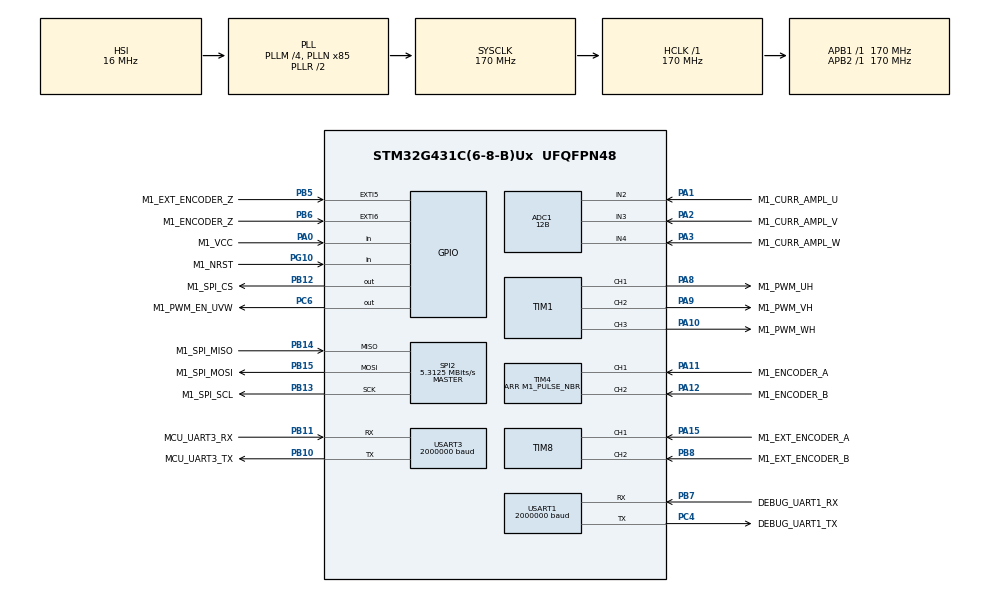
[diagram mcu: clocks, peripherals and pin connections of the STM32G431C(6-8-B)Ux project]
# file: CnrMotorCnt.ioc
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ADC1.ClockPrescaler=ADC_CLOCK_ASYNC_DIV1
ADC1.ContinuousConvMode=DISABLE
ADC1.DMAContinuousRequests=DISABLE
ADC1.DataAlign=ADC_DATAALIGN_LEFT
ADC1.DiscontinuousConvMode=DISABLE
ADC1.EOCSelection=ADC_EOC_SINGLE_CONV
ADC1.EnableAnalogWatchDog1=false
ADC1.EnableAnalogWatchDog2=false
ADC1.EnableAnalogWatchDog3=false
ADC1.EnableInjectedConversion=ENABLE
ADC1.EnableRegularConversion=DISABLE
ADC1.ExternalTrigInjecConv=ADC_EXTERNALTRIGINJEC_T1_TRGO
ADC1.ExternalTrigInjecConvEdge=ADC_EXTERNALTRIGINJECCONV_EDGE_RISING
ADC1.InjNumberOfConversion=3
ADC1.InjectedChannel-1\#ChannelInjectedConversion=ADC_CHANNEL_2
ADC1.InjectedChannel-2\#ChannelInjectedConversion=ADC_CHANNEL_3
ADC1.InjectedChannel-3\#ChannelInjectedConversion=ADC_CHANNEL_4
ADC1.InjectedConvMode=None
ADC1.InjectedOffset-1\#ChannelInjectedConversion=0
ADC1.InjectedOffset-2\#ChannelInjectedConversion=0
ADC1.InjectedOffset-3\#ChannelInjectedConversion=0
ADC1.InjectedOffsetNumber-1\#ChannelInjectedConversion=ADC_OFFSET_NONE
ADC1.InjectedOffsetNumber-2\#ChannelInjectedConversion=ADC_OFFSET_NONE
ADC1.InjectedOffsetNumber-3\#ChannelInjectedConversion=ADC_OFFSET_NONE
ADC1.InjectedRank-1\#ChannelInjectedConversion=1
ADC1.InjectedRank-2\#ChannelInjectedConversion=2
ADC1.InjectedRank-3\#ChannelInjectedConversion=3
ADC1.InjectedSamplingTime-1\#ChannelInjectedConversion=ADC_SAMPLETIME_6CYCLES_5
ADC1.InjectedSamplingTime-2\#ChannelInjectedConversion=ADC_SAMPLETIME_6CYCLES_5
ADC1.InjectedSamplingTime-3\#ChannelInjectedConversion=ADC_SAMPLETIME_6CYCLES_5
ADC1.LowPowerAutoWait=DISABLE
ADC1.Overrun=ADC_OVR_DATA_PRESERVED
ADC1.Resolution=ADC_RESOLUTION_12B
ADC1.ScanConvMode=ADC_SCAN_ENABLE
ADC1.master=1
Dma.Request0=USART1_RX
Dma.Request1=USART1_TX
Dma.Request2=USART3_RX
Dma.USART1_RX.0.Direction=DMA_PERIPH_TO_MEMORY
Dma.USART1_RX.0.EventEnable=DISABLE
Dma.USART1_RX.0.Instance=DMA1_Channel1
Dma.USART1_RX.0.MemDataAlignment=DMA_MDATAALIGN_BYTE
Dma.USART1_RX.0.MemInc=DMA_MINC_ENABLE
Dma.USART1_RX.0.Mode=DMA_NORMAL
Dma.USART1_RX.0.PeriphDataAlignment=DMA_PDATAALIGN_BYTE
Dma.USART1_RX.0.PeriphInc=DMA_PINC_DISABLE
Dma.USART1_RX.0.Polarity=HAL_DMAMUX_REQ_GEN_RISING
Dma.USART1_RX.0.Priority=DMA_PRIORITY_LOW
Dma.USART1_RX.0.RequestNumber=1
Dma.USART1_RX.0.SignalID=NONE
Dma.USART1_RX.0.SyncEnable=DISABLE
Dma.USART1_RX.0.SyncPolarity=HAL_DMAMUX_SYNC_NO_EVENT
Dma.USART1_RX.0.SyncRequestNumber=1
Dma.USART1_RX.0.SyncSignalID=NONE
Dma.USART1_TX.1.Direction=DMA_MEMORY_TO_PERIPH
Dma.USART1_TX.1.EventEnable=DISABLE
Dma.USART1_TX.1.Instance=DMA1_Channel2
Dma.USART1_TX.1.MemDataAlignment=DMA_MDATAALIGN_BYTE
Dma.USART1_TX.1.MemInc=DMA_MINC_ENABLE
Dma.USART1_TX.1.Mode=DMA_NORMAL
Dma.USART1_TX.1.PeriphDataAlignment=DMA_PDATAALIGN_BYTE
Dma.USART1_TX.1.PeriphInc=DMA_PINC_DISABLE
Dma.USART1_TX.1.Polarity=HAL_DMAMUX_REQ_GEN_RISING
Dma.USART1_TX.1.Priority=DMA_PRIORITY_LOW
Dma.USART1_TX.1.RequestNumber=1
Dma.USART1_TX.1.SignalID=NONE
Dma.USART1_TX.1.SyncEnable=DISABLE
Dma.USART1_TX.1.SyncPolarity=HAL_DMAMUX_SYNC_NO_EVENT
Dma.USART1_TX.1.SyncRequestNumber=1
Dma.USART1_TX.1.SyncSignalID=NONE
Dma.USART3_RX.2.Direction=DMA_PERIPH_TO_MEMORY
Dma.USART3_RX.2.EventEnable=DISABLE
Dma.USART3_RX.2.Instance=DMA1_Channel3
Dma.USART3_RX.2.MemDataAlignment=DMA_MDATAALIGN_BYTE
Dma.USART3_RX.2.MemInc=DMA_MINC_ENABLE
Dma.USART3_RX.2.Mode=DMA_NORMAL
Dma.USART3_RX.2.PeriphDataAlignment=DMA_PDATAALIGN_BYTE
Dma.USART3_RX.2.PeriphInc=DMA_PINC_DISABLE
Dma.USART3_RX.2.Polarity=HAL_DMAMUX_REQ_GEN_RISING
Dma.USART3_RX.2.Priority=DMA_PRIORITY_LOW
Dma.USART3_RX.2.RequestNumber=1
Dma.USART3_RX.2.SignalID=NONE
Dma.USART3_RX.2.SyncEnable=DISABLE
Dma.USART3_RX.2.SyncPolarity=HAL_DMAMUX_SYNC_NO_EVENT
Dma.USART3_RX.2.SyncRequestNumber=1
Dma.USART3_RX.2.SyncSignalID=NONE
ExtraMW=MotorControl
ExtraMW.MotorControl.Config=MotorControl
ExtraMW.MotorControl.Mode=MotorControl
ExtraMW.MotorControl.Root=MCSDK_v6.4.2-Full/MotorControl
ExtraMW.MotorControl.Template=templates
FREERTOS.BinarySemaphores01=uart_line_sema,Dynamic,NULL,Depleted
FREERTOS.Queues01=command_que,16,12,1,Dynamic,NULL,NULL
FREERTOS.Tasks01=mediumFrequency,3,128,startMediumFrequencyTask,As weak,NULL,Dynamic,NULL,NULL;safety,3,128,StartSafetyTask,As external,NULL,Dynamic,NULL,NULL;motor_task,1,512,cnr_start_motor_control_task,Default,NULL,Dynamic,NULL,NULL;handler_task,-1,256,cnr_start_command_handler_task,Default,NULL,Dynamic,NULL,NULL
FREERTOS.configTOTAL_HEAP_SIZE=6144
Mcu.Family=STM32G4
Mcu.Name=STM32G431C(6-8-B)Ux
Mcu.Package=UFQFPN48
MotorControl.ADC_AHBPERIPH=RCC_AHBPeriph_ADC1
MotorControl.ADC_CLOCK_WB_DIV=1
MotorControl.ADC_PERIPH=ADC1
MotorControl.ADC_REFERENCE_VOLTAGE=3.3
MotorControl.BOARD=~CNR-MOTOR-CNT
MotorControl.BUS_VOLTAGE_READING=false
MotorControl.CCMRAM_ENABLED=false
MotorControl.CLOCK_FREQUENCY=CPU_CLK_170_MHZ
MotorControl.CLOCK_SOURCE=INTERNAL
MotorControl.CPU_CLK_170_MHZ=true
MotorControl.CTLBOARD_NAME=~CNR-MOTOR-CNT
MotorControl.CUBE_MX_VER=6.17.0
MotorControl.CURRENT_READING_TOPOLOGY=THREE_SHUNT
MotorControl.CURR_SAMPLING_TIME=6
MotorControl.DBG_MCU_LOAD_MEASURE=false
MotorControl.DEBUG_DAC_FUNCTIONALITY_EN=false
MotorControl.DRIVES_NUMBER_SELECTION=SINGLEDRIVE
MotorControl.DRIVE_NUMBER=1
MotorControl.DRIVE_TYPE=FOC
MotorControl.ENCODER=true
MotorControl.ENCODER_AVAILABLE=true
MotorControl.ENCODER_PPR=256
MotorControl.ENC_A_GPIO_PIN=LL_GPIO_PIN_11
MotorControl.ENC_A_GPIO_PORT=GPIOA
MotorControl.ENC_B_GPIO_PIN=LL_GPIO_PIN_12
MotorControl.ENC_B_GPIO_PORT=GPIOA
MotorControl.ENC_ICx_FILTER=128
MotorControl.ENC_INVERT_SPEED=false
MotorControl.ENC_TIMER_SELECTION=ENC_TIM4
MotorControl.ENC_USE_CH3=true
MotorControl.ENC_Z_GPIO_PIN=LL_GPIO_PIN_6
MotorControl.ENC_Z_GPIO_PORT=GPIOB
MotorControl.EXT_CLOCK_FREQUENCY=INT_RC_OSC
MotorControl.FEEDBACK_NET_FILTERING=false
MotorControl.FLASH_SIZE=128
MotorControl.HALL_SENSORS_AVAILABLE=false
MotorControl.HIGH_SIDE_IDLE_STATE=false
MotorControl.HWV_CS=ThreeShunt_AmplifiedCurrents
MotorControl.HWV_PWM=DrivingHighSidesAndOneEnable
MotorControl.HW_COMPLEMENTED_LOW_SIDE=true
MotorControl.HW_DEAD_TIME_NS=750
MotorControl.INT_RC_OSC=true
MotorControl.IPs=CORDIC,NVIC,RCC,MotorControl,TIM1,ADC1,TIM4,USART1,FREERTOS,DMA
MotorControl.LOW_MEMORY_FOOTPRINT_REG=false
MotorControl.LOW_SIDE_IDLE_STATE=false
MotorControl.LOW_SIDE_SIGNALS_ENABLING=ES_GPIO
MotorControl.M1_ALIGNMENT_ANGLE_DEG=90
MotorControl.M1_ALIGNMENT_DURATION=400
MotorControl.M1_AMPLIFICATION_GAIN=1
MotorControl.M1_ANGC={0,0,0,0,0,0,0,0}
MotorControl.M1_AUXILIARY_SPEED_SENSOR=NONE
MotorControl.M1_BOARD_MAX_CURRENT=0.6
MotorControl.M1_BUS_VOLTAGE_READING=false
MotorControl.M1_COMMUTATION_STEP_TIME_BUF_SIZE=12
MotorControl.M1_CONSTANT1_D=420353
MotorControl.M1_CONSTANT1_Q=420353
MotorControl.M1_CONSTANT2_QD=460610
MotorControl.M1_CS_ADC_NUM=1
MotorControl.M1_CS_ADC_PHASE_SHARED=NONE
MotorControl.M1_CS_ADC_U=ADC1
MotorControl.M1_CS_ADC_V=ADC1
MotorControl.M1_CS_ADC_W=ADC1
MotorControl.M1_CS_CHANNEL_U=2
MotorControl.M1_CS_CHANNEL_V=3
MotorControl.M1_CS_CHANNEL_W=4
MotorControl.M1_CURRENT_AMPLIFICATION_TOPO=EXTERNAL
MotorControl.M1_CURRENT_SENSING_TOPO=THREE_SHUNT
MotorControl.M1_CURR_SAMPLING_TIME=6
MotorControl.M1_DBG_OPEN_LOOP_ENABLE=false
MotorControl.M1_DC_CURRENT_RS_MEAS=0.6
MotorControl.M1_DEFAULT_CONTROL_MODE=STC_SPEED_MODE
MotorControl.M1_DEFAULT_FLUX_COMPONENT=0
MotorControl.M1_DEFAULT_TARGET_SPEED_RPM=1440
MotorControl.M1_DEFAULT_TORQUE_COMPONENT=0
MotorControl.M1_DISCONTINUOUS_PWM=false
MotorControl.M1_DP_TOPOLOGY=NONE
MotorControl.M1_DRIVE_TYPE=FOC
MotorControl.M1_ENCODER_PPR=256
MotorControl.M1_ENC_AVERAGING_FIFO_DEPTH=16
MotorControl.M1_ENC_A_GPIO_PIN=LL_GPIO_PIN_11
MotorControl.M1_ENC_A_GPIO_PORT=GPIOA
MotorControl.M1_ENC_B_GPIO_PIN=LL_GPIO_PIN_12
MotorControl.M1_ENC_B_GPIO_PORT=GPIOA
MotorControl.M1_ENC_ICx_FILTER=128
MotorControl.M1_ENC_TIMER_IRQ=TIM4
MotorControl.M1_ENC_TIMER_SELECTION=ENC_TIM4
MotorControl.M1_ENC_USE_CH3=true
MotorControl.M1_ENC_Z_GPIO_IRQ=EXTI9_5
MotorControl.M1_ENC_Z_GPIO_PIN=LL_GPIO_PIN_6
MotorControl.M1_ENC_Z_GPIO_PORT=GPIOB
MotorControl.M1_FEED_FORWARD_CURRENT_REG_ENABLING=false
MotorControl.M1_FINAL_I_ALIGNMENT=0.6
MotorControl.M1_FLUX_WEAKENING_ENABLING=false
MotorControl.M1_FW_KIDIV=32768
MotorControl.M1_FW_KI_GAIN=5000
MotorControl.M1_FW_KPDIV=32768
MotorControl.M1_FW_KP_GAIN=3000
MotorControl.M1_FW_VOLTAGE_REF=985
MotorControl.M1_HALL_PHASE_SHIFT=300
MotorControl.M1_HALL_SENSORS_PLACEMENT=DEGREES_120
MotorControl.M1_HIGH_SIDE_IDLE_STATE=false
MotorControl.M1_HW_DEAD_TIME_NS=750
MotorControl.M1_ICL_ENABLED=false
MotorControl.M1_ID_DEMAG=-0.6
MotorControl.M1_IQMAX=0.6
MotorControl.M1_LDLQ_RATIO=1.000
MotorControl.M1_LOW_SIDE_IDLE_STATE=false
MotorControl.M1_LOW_SIDE_SIGNALS_ENABLING=ES_GPIO
MotorControl.M1_LS=0.000049
MotorControl.M1_MAX_APPLICATION_SPEED=50000
MotorControl.M1_MAX_MODULATION_INDEX=77
MotorControl.M1_MIN_APPLICATION_SPEED=0
MotorControl.M1_MOTOR_MAX_SPEED_RPM=50000
MotorControl.M1_MOTOR_NAME=MAXON EC-I 100W
MotorControl.M1_MOTOR_RATED_FLUX=0.029687816
MotorControl.M1_MOTOR_VOLTAGE_CONSTANT=0.6
MotorControl.M1_MTPA_ENABLING=false
MotorControl.M1_NOMINAL_BUS_VOLTAGE_V=35
MotorControl.M1_NOMINAL_CURRENT=0.6
MotorControl.M1_OCP_TOPOLOGY=NONE
MotorControl.M1_OFST={0,0,0,0,0,0,0,0}
MotorControl.M1_OVERMODULATION=false
MotorControl.M1_PID_FLUX_KD_DEFAULT=100
MotorControl.M1_PID_FLUX_KI_DEFAULT=2829
MotorControl.M1_PID_FLUX_KP_DEFAULT=0
MotorControl.M1_PID_SPEED_KD_DEFAULT=0
MotorControl.M1_PID_SPEED_KI_DEFAULT=2189
MotorControl.M1_PID_SPEED_KP_DEFAULT=3549
MotorControl.M1_PID_TORQUE_KD_DEFAULT=100
MotorControl.M1_PID_TORQUE_KI_DEFAULT=2829
MotorControl.M1_PID_TORQUE_KP_DEFAULT=0
MotorControl.M1_POLE_PAIR_NUM=1
MotorControl.M1_POSITION_CTRL_ENABLING=true
MotorControl.M1_POSITION_CTRL_KDDIV=1024
MotorControl.M1_POSITION_CTRL_KD_GAIN=230
MotorControl.M1_POSITION_CTRL_KIDIV=32768
MotorControl.M1_POSITION_CTRL_KI_GAIN=0
MotorControl.M1_POSITION_CTRL_KPDIV=1024
MotorControl.M1_POSITION_CTRL_KP_GAIN=50
MotorControl.M1_POSITION_LOOP_FREQUENCY_HZ=2000
MotorControl.M1_POTENTIOMETER_ENABLE=false
MotorControl.M1_POWERBOARD_NAME=~CNR-MOTOR-DRV
MotorControl.M1_PWM_CHARGE_BOOT_CAP_DUTY_CYCLES=0.000
MotorControl.M1_PWM_CHARGE_BOOT_CAP_MS=10
MotorControl.M1_PWM_DRIVER_PN=DRV8316CT
MotorControl.M1_PWM_FREQUENCY=50000
MotorControl.M1_PWM_TIMER_BRK_IRQ=TIM1_BRK_TIM15
MotorControl.M1_PWM_TIMER_SELECTION=PWM_TIM1
MotorControl.M1_PWM_TIMER_UP_IRQ=TIM1_UP_TIM16
MotorControl.M1_REGULATION_EXECUTION_RATE=2
MotorControl.M1_RS=5.65
MotorControl.M1_RSHUNT=0.15
MotorControl.M1_SEGDIV=0
MotorControl.M1_SHARED_SIGNAL_ENABLE=true
MotorControl.M1_SPD_DIFFERENTIAL_TERM_ENABLING=false
MotorControl.M1_SPEED_SENSOR=QUAD_ENCODER_Z
MotorControl.M1_SP_KDDIV=16
MotorControl.M1_SP_KIDIV=16384
MotorControl.M1_SP_KPDIV=64
MotorControl.M1_SS_MEAS_ERRORS_BEFORE_FAULTS=3
MotorControl.M1_SW_DEADTIME_NS=750
MotorControl.M1_TEMPERATURE_READING=false
MotorControl.M1_TF_KDDIV=8192
MotorControl.M1_TF_KIDIV=1024
MotorControl.M1_TF_KPDIV=256
MotorControl.M1_TNOISE_NS=700
MotorControl.M1_TRISE_NS=1000
MotorControl.M1_USE_INTERNAL_OPAMP=false
MotorControl.MAX_READABLE_CURRENT=11
MotorControl.MCPA_OVER_UART_A_STREAM=10
MotorControl.MCP_ASPEP_OVER_UART=true
MotorControl.MCP_ASYNC_EN=true
MotorControl.MCP_ASYNC_OVER_ASPEP_EN=true
MotorControl.MCP_ASYNC_OVER_UART_A_EN=true
MotorControl.MCP_DMACH_RX_UART_A=1
MotorControl.MCP_DMACH_TX_UART_A=2
MotorControl.MCP_DMA_RX_UART_A=DMA1
MotorControl.MCP_DMA_TX_UART_A=DMA1
MotorControl.MCP_EN=true
MotorControl.MCP_IRQ_HANDLER_DMA_RX_UART_A=DMA1_Channel1_IRQHandler
MotorControl.MCP_IRQ_HANDLER_UART_A=USART1_IRQHandler
MotorControl.MCP_OVER_ASPEP_EN=true
MotorControl.MCP_OVER_STLNK_EN=false
MotorControl.MCP_OVER_UART_A_EN=true
MotorControl.MCP_OVER_UART_B_EN=false
MotorControl.MCP_RX_SYNC_PAYLOAD_MAX=256
MotorControl.MCP_TX_ASYNC_PAYLOAD_MAX_UART_A=2048
MotorControl.MCP_TX_SYNC_PAYLOAD_MAX=256
MotorControl.MCU=STM32G431CB
MotorControl.MCU_FAMILY=STM32G4
MotorControl.MCU_LINE=STM32G4x1
MotorControl.MCU_NAME=STM32G431C(6-8-B)Ux
MotorControl.MCU_PACKAGE=UFQFPN48
MotorControl.MCU_TYPE=STM32G431CB
MotorControl.MCU_USERNAME=STM32G431CBUx
MotorControl.MC_WORKBENCH_VERSION=6.4.2
MotorControl.MOTOR_PROFILER=false
MotorControl.MOTOR_TYPE=PMSM
MotorControl.PHASE_UH_GPIO_PIN=LL_GPIO_PIN_8
MotorControl.PHASE_UH_GPIO_PORT=GPIOA
MotorControl.PHASE_UH_POLARITY=H_ACTIVE_HIGH
MotorControl.PHASE_UL_GPIO_PIN=LL_GPIO_PIN_6
MotorControl.PHASE_UL_GPIO_PORT=GPIOC
MotorControl.PHASE_UL_POLARITY=L_ACTIVE_HIGH
MotorControl.PHASE_U_CURR_ADC=ADC1
MotorControl.PHASE_U_CURR_CHANNEL=ADC_CHANNEL_2
MotorControl.PHASE_U_GPIO_PIN=LL_GPIO_PIN_1
MotorControl.PHASE_U_GPIO_PORT=GPIOA
MotorControl.PHASE_U_PWM_CHANNEL=TIM_Channel_1
MotorControl.PHASE_VH_GPIO_PIN=LL_GPIO_PIN_9
MotorControl.PHASE_VH_GPIO_PORT=GPIOA
MotorControl.PHASE_VH_POLARITY=H_ACTIVE_HIGH
MotorControl.PHASE_VL_GPIO_PIN=LL_GPIO_PIN_6
MotorControl.PHASE_VL_GPIO_PORT=GPIOC
MotorControl.PHASE_VL_POLARITY=L_ACTIVE_HIGH
MotorControl.PHASE_V_CURR_ADC=ADC1
MotorControl.PHASE_V_CURR_CHANNEL=ADC_CHANNEL_3
MotorControl.PHASE_V_GPIO_PIN=LL_GPIO_PIN_2
MotorControl.PHASE_V_GPIO_PORT=GPIOA
MotorControl.PHASE_V_PWM_CHANNEL=TIM_Channel_2
MotorControl.PHASE_WH_GPIO_PIN=LL_GPIO_PIN_10
MotorControl.PHASE_WH_GPIO_PORT=GPIOA
MotorControl.PHASE_WH_POLARITY=H_ACTIVE_HIGH
MotorControl.PHASE_WL_GPIO_PIN=LL_GPIO_PIN_6
MotorControl.PHASE_WL_GPIO_PORT=GPIOC
MotorControl.PHASE_WL_POLARITY=L_ACTIVE_HIGH
MotorControl.PHASE_W_CURR_ADC=ADC1
MotorControl.PHASE_W_CURR_CHANNEL=ADC_CHANNEL_4
MotorControl.PHASE_W_GPIO_PIN=LL_GPIO_PIN_3
MotorControl.PHASE_W_GPIO_PORT=GPIOA
MotorControl.PHASE_W_PWM_CHANNEL=TIM_Channel_3
MotorControl.POTENTIOMETER_READING=false
MotorControl.PWM_FREQUENCY=50000
MotorControl.PWM_TIMER_SELECTION=PWM_TIM1
MotorControl.REGULATION_EXECUTION_RATE=2
MotorControl.RTOS=FREERTOS
MotorControl.RTOS_IRQ_NAME_WB2MX=TIM6_DAC_IRQn
MotorControl.RTOS_TIMER=TIM6
MotorControl.RTOS_USE_IRQ=true
MotorControl.SINGLEDRIVE=true
MotorControl.SPD_DIFFERENTIAL_TERM_ENABLING=false
MotorControl.SPEED_SENSOR_SELECTION=ENCODER
MotorControl.START_STOP_BTN=false
MotorControl.STM32G431CB=true
MotorControl.SW_DEADTIME_NS=750
MotorControl.TEMPERATURE_READING=false
MotorControl.TFDIFFERENTIAL_TERM_ENABLING=false
MotorControl.THREE_SHUNT=true
MotorControl.TRISE_NS=1000
MotorControl.USART_RX_GPIO_PIN=LL_GPIO_PIN_7
MotorControl.USART_RX_GPIO_PORT=GPIOB
MotorControl.USART_SELECTION=USE_USART1
MotorControl.USART_SELECTION_A=USART1
MotorControl.USART_SPEED=1843200
MotorControl.USART_TX_GPIO_PIN=LL_GPIO_PIN_4
MotorControl.USART_TX_GPIO_PORT=GPIOC
MotorControl.USE_3OPAMPS=false
MotorControl.USE_INTERNAL_OPAMP=false
MotorControl.WB_MX_HEAPSIZE=0x200
MotorControl.WB_MX_STACKSIZE=0x400
MotorControl.WB_MX_TRUSTZONE_AVAILABLE=false
MotorControl.WB_UI_CUTOFF_FREQUENCY=6000
MotorControl.WB_UI_ENCODER_HAS_INDEX_PIN=true
MotorControl.WB_UI_FLUX_TARGET=0
MotorControl.WB_UI_FRICTION=14
MotorControl.WB_UI_INERTIA=5.81
MotorControl.WB_UI_MAGNETIC_STRUCTURE=SM-PMSM
MotorControl.WB_UI_MAX_CURRENT=1.6
MotorControl.WB_UI_MAX_NOMINAL_DC_VOLTAGE=36
MotorControl.WB_UI_MAX_PWMFREQUENCY=50000
MotorControl.WB_UI_MOTOR_DESCRIPTION=brushless DC motor with encoder and Z Index
MotorControl.WB_UI_PW_BOARD_MAX_RATED_CURRENT=8
MotorControl.WB_UI_PW_BOARD_MAX_VOLTAGE=36
MotorControl.WB_UI_PW_BOARD_MIN_VOLTAGE=4.5
MotorControl.WB_UI_VPOL=0
MotorControl.WB_to_Mx_template_version=25-05-06
MotorControl.WB_to_Mx_version=6.4.2
NVIC.ADC1_2_IRQn=true\:2\:0\:true\:true\:false\:3\:false\:true\:true\:true
NVIC.DMA1_Channel3_IRQn=true\:5\:0\:false\:false\:true\:true\:true\:true\:true
NVIC.EXTI9_5_IRQn=true\:3\:0\:true\:true\:false\:5\:false\:true\:true\:true
NVIC.PriorityGroup=NVIC_PRIORITYGROUP_4
NVIC.TIM1_BRK_TIM15_IRQn=true\:4\:0\:true\:true\:false\:1\:false\:true\:true\:true
NVIC.TIM1_UP_TIM16_IRQn=true\:0\:0\:true\:true\:false\:2\:false\:true\:true\:true
NVIC.TIM4_IRQn=true\:3\:0\:true\:true\:false\:4\:false\:true\:true\:true
NVIC.TIM6_DAC_IRQn=true\:15\:0\:false\:false\:true\:false\:false\:true\:true
NVIC.TimeBase=TIM6_DAC_IRQn
NVIC.TimeBaseIP=TIM6
NVIC.USART3_IRQn=true\:5\:0\:false\:false\:true\:true\:true\:true\:true
PA0.GPIO_Label=M1_VCC
PA0.Signal=GPIO_Input
PA1.GPIO_Label=M1_CURR_AMPL_U
PA1.Mode=IN2-Single-Ended
PA1.Signal=ADC1_IN2
PA10.GPIO_Label=M1_PWM_WH
PA10.GPIO_PuPd=GPIO_PULLDOWN
PA10.GPIO_Speed=GPIO_SPEED_FREQ_HIGH
PA10.Signal=S_TIM1_CH3
PA11.GPIO_Label=M1_ENCODER_A
PA11.Signal=S_TIM4_CH1
PA12.GPIO_Label=M1_ENCODER_B
PA12.Signal=S_TIM4_CH2
PA13.Mode=Trace_Asynchronous_SW
PA13.Signal=SYS_JTMS-SWDIO
PA14.Mode=Trace_Asynchronous_SW
PA14.Signal=SYS_JTCK-SWCLK
PA15.GPIO_Label=M1_EXT_ENCODER_A
PA15.Signal=S_TIM8_CH1
PA2.GPIO_Label=M1_CURR_AMPL_V
PA2.Mode=IN3-Single-Ended
PA2.Signal=ADC1_IN3
PA3.GPIO_Label=M1_CURR_AMPL_W
PA3.Mode=IN4-Single-Ended
PA3.Signal=ADC1_IN4
PA8.GPIO_Label=M1_PWM_UH
PA8.GPIO_PuPd=GPIO_PULLDOWN
PA8.GPIO_Speed=GPIO_SPEED_FREQ_HIGH
PA8.Signal=S_TIM1_CH1
PA9.GPIO_Label=M1_PWM_VH
PA9.GPIO_PuPd=GPIO_PULLDOWN
PA9.GPIO_Speed=GPIO_SPEED_FREQ_HIGH
PA9.Signal=S_TIM1_CH2
PB10.GPIO_Label=MCU_UART3_TX
PB10.Mode=Asynchronous
PB10.Signal=USART3_TX
PB11.GPIO_Label=MCU_UART3_RX
PB11.Mode=Asynchronous
PB11.Signal=USART3_RX
PB12.GPIO_Label=M1_SPI_CS
PB12.Signal=GPIO_Output
PB13.GPIO_Label=M1_SPI_SCL
PB13.Mode=Full_Duplex_Master
PB13.Signal=SPI2_SCK
PB14.GPIO_Label=M1_SPI_MISO
PB14.Mode=Full_Duplex_Master
PB14.Signal=SPI2_MISO
PB15.GPIO_Label=M1_SPI_MOSI
PB15.Mode=Full_Duplex_Master
PB15.Signal=SPI2_MOSI
PB3.Mode=Trace_Asynchronous_SW
PB3.Signal=SYS_JTDO-SWO
PB5.GPIO_Label=M1_EXT_ENCODER_Z
PB5.GPIO_PuPd=GPIO_PULLUP
PB5.Signal=GPXTI5
PB6.GPIO_Label=M1_ENCODER_Z
PB6.GPIO_ModeDefaultEXTI=GPIO_MODE_IT_RISING
PB6.GPIO_PuPd=GPIO_PULLUP
PB6.Signal=GPXTI6
PB7.GPIO_Label=DEBUG_UART1_RX
PB7.GPIO_Mode=GPIO_MODE_AF_PP
PB7.GPIO_PuPd=GPIO_NOPULL
PB7.GPIO_Speed=GPIO_SPEED_FREQ_LOW
PB7.Mode=Asynchronous
PB7.Signal=USART1_RX
PB8-BOOT0.GPIO_Label=M1_EXT_ENCODER_B
PB8-BOOT0.Signal=S_TIM8_CH2
PC4.GPIO_Label=DEBUG_UART1_TX
PC4.GPIO_Mode=GPIO_MODE_AF_PP
PC4.GPIO_PuPd=GPIO_NOPULL
PC4.GPIO_Speed=GPIO_SPEED_FREQ_LOW
PC4.Mode=Asynchronous
PC4.Signal=USART1_TX
PC6.GPIO_Label=M1_PWM_EN_UVW
PC6.GPIO_PuPd=GPIO_PULLDOWN
PC6.GPIO_Speed=GPIO_SPEED_FREQ_HIGH
PC6.Signal=GPIO_Output
PG10-NRST.GPIO_Label=M1_NRST
PG10-NRST.Signal=GPIO_Input
ProjectManager.HeapSize=0x200
ProjectManager.StackSize=0x400
ProjectManager.TargetToolchain=CMake
RCC.ADC12CLockSelection=RCC_ADC12CLKSOURCE_PLL
RCC.ADC12Freq_Value=42500000
RCC.AHBFreq_Value=170000000
RCC.APB1Freq_Value=170000000
RCC.APB1TimFreq_Value=170000000
RCC.APB2Freq_Value=170000000
RCC.APB2TimFreq_Value=170000000
RCC.CK48CLockSelection=RCC_USBCLKSOURCE_PLL
RCC.CortexFreq_Value=170000000
RCC.EXTERNAL_CLOCK_VALUE=12288000
RCC.HCLKFreq_Value=170000000
RCC.HSE_VALUE=8000000
RCC.HSI48_VALUE=48000000
RCC.HSI_VALUE=16000000
RCC.LSE_VALUE=32768
RCC.PLLM=RCC_PLLM_DIV4
RCC.PLLN=85
RCC.PLLP=RCC_PLLP_DIV8
RCC.PREFETCH_ENABLE=1
RCC.SYSCLKFreq_VALUE=170000000
RCC.SYSCLKSource=RCC_SYSCLKSOURCE_PLLCLK
RCC.USBFreq_Value=170000000
RCC.VCOOutputFreq_Value=340000000
SH.S_TIM1_CH1.0=TIM1_CH1,PWM Generation1 CH1
SH.S_TIM1_CH2.0=TIM1_CH2,PWM Generation2 CH2
SH.S_TIM1_CH3.0=TIM1_CH3,PWM Generation3 CH3
SH.S_TIM4_CH1.0=TIM4_CH1,Encoder_Interface
SH.S_TIM4_CH2.0=TIM4_CH2,Encoder_Interface
SH.S_TIM8_CH1.0=TIM8_CH1,Encoder_Interface
SH.S_TIM8_CH2.0=TIM8_CH2,Encoder_Interface
SPI2.BaudRatePrescaler=SPI_BAUDRATEPRESCALER_32
SPI2.CalculateBaudRate=5.3125 MBits/s
SPI2.DataSize=SPI_DATASIZE_16BIT
SPI2.Direction=SPI_DIRECTION_2LINES
SPI2.Mode=SPI_MODE_MASTER
SPI2.VirtualType=VM_MASTER
TIM1.AutoReloadPreload=TIM_AUTORELOAD_PRELOAD_DISABLE
TIM1.AutomaticOutput=TIM_AUTOMATICOUTPUT_DISABLE
TIM1.Break2Filter=3
TIM1.Break2Polarity=TIM_BREAK2POLARITY_HIGH
TIM1.Break2State=TIM_BREAK2_DISABLE
TIM1.BreakFilter=0
TIM1.BreakPolarity=TIM_BREAKPOLARITY_HIGH
TIM1.BreakState=TIM_BREAK_DISABLE
TIM1.Channel=TIM_CHANNEL_4
TIM1.Channel-PWM\ Generation1\ CH1=TIM_CHANNEL_1
TIM1.Channel-PWM\ Generation2\ CH2=TIM_CHANNEL_2
TIM1.Channel-PWM\ Generation3\ CH3=TIM_CHANNEL_3
TIM1.Channel-PWM\ Generation4\ No\ Output=TIM_CHANNEL_4
TIM1.ClearInputSource=TIM_CLEARINPUTSOURCE_NONE
TIM1.ClockDivision=TIM_CLOCKDIVISION_DIV2
TIM1.CounterMode=TIM_COUNTERMODE_CENTERALIGNED1
TIM1.LockLevel=TIM_LOCKLEVEL_OFF
TIM1.OC1Preload_PWM=ENABLE
TIM1.OC2Preload_PWM=ENABLE
TIM1.OC3Preload_PWM=ENABLE
TIM1.OC4Preload_PWM=ENABLE
TIM1.OCFastMode_PWM=TIM_OCFAST_DISABLE
TIM1.OCIdleState_1=TIM_OCIDLESTATE_RESET
TIM1.OCIdleState_2=TIM_OCIDLESTATE_RESET
TIM1.OCIdleState_3=TIM_OCIDLESTATE_RESET
TIM1.OCIdleState_4=TIM_OCIDLESTATE_RESET
TIM1.OCMode_PWM-PWM\ Generation1\ CH1=TIM_OCMODE_PWM1
TIM1.OCMode_PWM-PWM\ Generation2\ CH2=TIM_OCMODE_PWM1
TIM1.OCMode_PWM-PWM\ Generation3\ CH3=TIM_OCMODE_PWM1
TIM1.OCMode_PWM-PWM\ Generation4\ No\ Output=TIM_OCMODE_PWM2
TIM1.OCPolarity_1=TIM_OCPOLARITY_HIGH
TIM1.OCPolarity_2=TIM_OCPOLARITY_HIGH
TIM1.OCPolarity_3=TIM_OCPOLARITY_HIGH
TIM1.OCPolarity_4=TIM_OCPOLARITY_HIGH
TIM1.OffStateIDLEMode=TIM_OSSI_ENABLE
TIM1.OffStateRunMode=TIM_OSSR_ENABLE
TIM1.PeriodNoDither=((PWM_PERIOD_CYCLES) / 2)
TIM1.Prescaler=((TIM_CLOCK_DIVIDER) - 1)
TIM1.PulseNoDither_1=((PWM_PERIOD_CYCLES) / 4)
TIM1.PulseNoDither_2=((PWM_PERIOD_CYCLES) / 4)
TIM1.PulseNoDither_3=((PWM_PERIOD_CYCLES) / 4)
TIM1.PulseNoDither_4=(((PWM_PERIOD_CYCLES) / 2) - (HTMIN))
TIM1.RepetitionCounter=(REP_COUNTER)
TIM1.SourceBRK2DigInput=TIM_BREAKINPUTSOURCE_DISABLE
TIM1.SourceBRKDigInput=TIM_BREAKINPUTSOURCE_DISABLE
TIM1.TIM_MasterOutputTrigger=TIM_TRGO_OC4REF
TIM1.TIM_MasterOutputTrigger2=TIM_TRGO2_RESET
TIM1.TIM_MasterSlaveMode=TIM_MASTERSLAVEMODE_DISABLE
TIM1.TIM_SlaveMode=TIM_SLAVEMODE_TRIGGER
TIM4.EncoderMode=TIM_ENCODERMODE_TI12
TIM4.IC1Filter=M1_ENC_IC_FILTER
TIM4.IC1Polarity=TIM_ICPOLARITY_RISING
TIM4.IC2Filter=M1_ENC_IC_FILTER
TIM4.IC2Polarity=TIM_ICPOLARITY_RISING
TIM4.PeriodNoDither=M1_PULSE_NBR
USART1.BaudRate=2000000
USART1.VirtualMode-Asynchronous=VM_ASYNC
USART1.WordLength=WORDLENGTH_8B
USART3.BaudRate=2000000
USART3.FIFOMode=FIFOMODE_ENABLE
USART3.VirtualMode-Asynchronous=VM_ASYNC
VP_CORDIC_VS_CORDIC.Mode=CORDIC_Activate
VP_FREERTOS_VS_CMSIS_V1.Mode=CMSIS_V1
VP_MotorControl_MC_ENABLED.Mode=Enabled
VP_SYS_VS_DBSignals.Mode=DisableDeadBatterySignals
VP_SYS_VS_tim6.Mode=TIM6
VP_TIM1_VS_no_output4.Mode=PWM Generation4 No Output
board=custom

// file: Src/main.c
/* USER CODE BEGIN Header */
/**
  ******************************************************************************
  * @file           : main.c
  * @brief          : Main program body
  ******************************************************************************
  * @attention
  *
  * Copyright (c) 2026 STMicroelectronics.
  * All rights reserved.
  *
  * This software is licensed under terms that can be found in the LICENSE file
  * in the root directory of this software component.
  * If no LICENSE file comes with this software, it is provided AS-IS.
  *
  ******************************************************************************
  */
/* USER CODE END Header */
#include "main.h"
#include "cmsis_os.h"

/* USER CODE BEGIN Includes */
#include "mc_api.h"
#include "mcp_config.h"
#include "mc_tasks.h"
#include <math.h>
#include <cnr_elec_angle.h>
#include <cnr_position_control.h>
#include "cnr_motor_homing.h"
#include "cnr_command_handler.h"
#include "cnr_mcsdk_position_control_test.h"
#include "cnr_overcurrent.h"
/* USER CODE END Includes */

ADC_HandleTypeDef hadc1;

CORDIC_HandleTypeDef hcordic;

SPI_HandleTypeDef hspi2;

TIM_HandleTypeDef htim1;
TIM_HandleTypeDef htim4;
TIM_HandleTypeDef htim8;

UART_HandleTypeDef huart1;
UART_HandleTypeDef huart3;
DMA_HandleTypeDef hdma_usart1_rx;
DMA_HandleTypeDef hdma_usart1_tx;
DMA_HandleTypeDef hdma_usart3_rx;

osThreadId mediumFrequencyHandle;
osThreadId safetyHandle;
osThreadId motor_taskHandle;
osThreadId handler_taskHandle;
osMessageQId command_queHandle;
osSemaphoreId uart_line_semaHandle;
/* USER CODE BEGIN PV */
extern volatile uint8_t uart3_line_complete;
extern volatile uint8_t uart3_received_byte;
extern volatile uint8_t uart3_line_buffer[COMMAND_LINE_MAX_CHARS];
/* USER CODE END PV */

void SystemClock_Config(void);
static void MX_GPIO_Init(void);
static void MX_DMA_Init(void);
static void MX_ADC1_Init(void);
static void MX_CORDIC_Init(void);
static void MX_TIM1_Init(void);
static void MX_TIM4_Init(void);
static void MX_USART1_UART_Init(void);
static void MX_TIM8_Init(void);
static void MX_USART3_UART_Init(void);
static void MX_SPI2_Init(void);
void startMediumFrequencyTask(void const * argument);
extern void StartSafetyTask(void const * argument);
void cnr_start_motor_control_task(void const * argument);
void cnr_start_command_handler_task(void const * argument);

static void MX_NVIC_Init(void);

/* USER CODE BEGIN 0 */
#ifdef __GNUC__
int __io_putchar(int ch)
#else
int fputc(int ch, FILE *f)
#endif
{
  HAL_UART_Transmit(&huart1, (uint8_t *)&ch, 1, HAL_MAX_DELAY);
  return ch;
}

void R3_1_TurnOnLowSides(PWMC_Handle_t *pHdl, uint32_t ticks)
{
  PWMC_R3_1_Handle_t *pHandle = (PWMC_R3_1_Handle_t *)pHdl;
  TIM_TypeDef *TIMx = pHandle->pParams_str->TIMx;

  pHandle->_Super.TurnOnLowSidesAction = true;

  LL_TIM_OC_DisablePreload(TIMx, LL_TIM_CHANNEL_CH1);
  LL_TIM_OC_DisablePreload(TIMx, LL_TIM_CHANNEL_CH2);
  LL_TIM_OC_DisablePreload(TIMx, LL_TIM_CHANNEL_CH3);
  LL_TIM_OC_SetCompareCH1(TIMx, ticks);
  LL_TIM_OC_SetCompareCH2(TIMx, ticks);
  LL_TIM_OC_SetCompareCH3(TIMx, ticks);
  LL_TIM_OC_EnablePreload(TIMx, LL_TIM_CHANNEL_CH1);
  LL_TIM_OC_EnablePreload(TIMx, LL_TIM_CHANNEL_CH2);
  LL_TIM_OC_EnablePreload(TIMx, LL_TIM_CHANNEL_CH3);

  LL_TIM_EnableAllOutputs(TIMx);
  /* nSLEEP toggle deliberately REMOVED - the driver must stay awake */
}

void R3_1_SwitchOnPWM(PWMC_Handle_t *pHdl)
{
  PWMC_R3_1_Handle_t *pHandle = (PWMC_R3_1_Handle_t *)pHdl;
  TIM_TypeDef *TIMx = pHandle->pParams_str->TIMx;

  pHandle->_Super.TurnOnLowSidesAction = false;

  /* Set all duty to 50% */
  LL_TIM_OC_DisablePreload(TIMx, LL_TIM_CHANNEL_CH1);
  LL_TIM_OC_DisablePreload(TIMx, LL_TIM_CHANNEL_CH2);
  LL_TIM_OC_DisablePreload(TIMx, LL_TIM_CHANNEL_CH3);
  LL_TIM_OC_DisablePreload(TIMx, LL_TIM_CHANNEL_CH4);
  LL_TIM_OC_SetCompareCH1(TIMx, ((uint32_t)pHandle->Half_PWMPeriod / (uint32_t)2));
  LL_TIM_OC_SetCompareCH2(TIMx, ((uint32_t)pHandle->Half_PWMPeriod / (uint32_t)2));
  LL_TIM_OC_SetCompareCH3(TIMx, ((uint32_t)pHandle->Half_PWMPeriod / (uint32_t)2));
  LL_TIM_OC_SetCompareCH4(TIMx, ((uint32_t)pHandle->Half_PWMPeriod - (uint32_t)5));
  LL_TIM_OC_EnablePreload(TIMx, LL_TIM_CHANNEL_CH1);
  LL_TIM_OC_EnablePreload(TIMx, LL_TIM_CHANNEL_CH2);
  LL_TIM_OC_EnablePreload(TIMx, LL_TIM_CHANNEL_CH3);
  LL_TIM_OC_EnablePreload(TIMx, LL_TIM_CHANNEL_CH4);

  TIMx->BDTR |= LL_TIM_OSSI_ENABLE;
  LL_TIM_EnableAllOutputs(TIMx);
  /* nSLEEP toggle deliberately REMOVED */

  pHandle->_Super.PWMState = true;
}

void R3_1_SwitchOffPWM(PWMC_Handle_t *pHdl)
{
  PWMC_R3_1_Handle_t *pHandle = (PWMC_R3_1_Handle_t *)pHdl;
  TIM_TypeDef *TIMx = pHandle->pParams_str->TIMx;

  pHandle->_Super.PWMState = false;
  pHandle->_Super.TurnOnLowSidesAction = false;

  LL_TIM_DisableAllOutputs(TIMx);
  /* nSLEEP toggle deliberately REMOVED - the CSA must stay alive */
}
/* USER CODE END 0 */

int main(void)
{

  /* MCU Configuration--------------------------------------------------------*/

  /* Reset of all peripherals, Initializes the Flash interface and the Systick. */
  HAL_Init();

  /* Configure the system clock */
  SystemClock_Config();

  /* Initialize all configured peripherals */
  MX_GPIO_Init();
  MX_DMA_Init();
  MX_ADC1_Init();
  MX_CORDIC_Init();
  MX_TIM1_Init();
  MX_TIM4_Init();
  MX_USART1_UART_Init();
  MX_MotorControl_Init();
  MX_TIM8_Init();
  MX_USART3_UART_Init();
  MX_SPI2_Init();

  /* Initialize interrupts */
  MX_NVIC_Init();

  /* Create the semaphores(s) */
  /* definition and creation of uart_line_sema */
  osSemaphoreDef(uart_line_sema);
  uart_line_semaHandle = osSemaphoreCreate(osSemaphore(uart_line_sema), 1);

  /* Create the queue(s) */
  /* definition and creation of command_que */
  osMessageQDef(command_que, 16, motion_command_t);
  command_queHandle = osMessageCreate(osMessageQ(command_que), NULL);

  /* Create the thread(s) */
  /* definition and creation of mediumFrequency */
  osThreadDef(mediumFrequency, startMediumFrequencyTask, osPriorityRealtime, 0, 128);
  mediumFrequencyHandle = osThreadCreate(osThread(mediumFrequency), NULL);

  /* definition and creation of safety */
  osThreadDef(safety, StartSafetyTask, osPriorityRealtime, 0, 128);
  safetyHandle = osThreadCreate(osThread(safety), NULL);

  /* definition and creation of motor_task */
  osThreadDef(motor_task, cnr_start_motor_control_task, osPriorityAboveNormal, 0, 512);
  motor_taskHandle = osThreadCreate(osThread(motor_task), NULL);

  /* definition and creation of handler_task */
  osThreadDef(handler_task, cnr_start_command_handler_task, osPriorityBelowNormal, 0, 256);
  handler_taskHandle = osThreadCreate(osThread(handler_task), NULL);

  /* Start scheduler */
  osKernelStart();

  /* We should never get here as control is now taken by the scheduler */

  /* Infinite loop */
  while (1)
  {

  }
}

void SystemClock_Config(void)
{
  RCC_OscInitTypeDef RCC_OscInitStruct = {0};
  RCC_ClkInitTypeDef RCC_ClkInitStruct = {0};

  /** Configure the main internal regulator output voltage
  */
  HAL_PWREx_ControlVoltageScaling(PWR_REGULATOR_VOLTAGE_SCALE1_BOOST);

  /** Initializes the RCC Oscillators according to the specified parameters
  * in the RCC_OscInitTypeDef structure.
  */
  RCC_OscInitStruct.OscillatorType = RCC_OSCILLATORTYPE_HSI;
  RCC_OscInitStruct.HSIState = RCC_HSI_ON;
  RCC_OscInitStruct.HSICalibrationValue = RCC_HSICALIBRATION_DEFAULT;
  RCC_OscInitStruct.PLL.PLLState = RCC_PLL_ON;
  RCC_OscInitStruct.PLL.PLLSource = RCC_PLLSOURCE_HSI;
  RCC_OscInitStruct.PLL.PLLM = RCC_PLLM_DIV4;
  RCC_OscInitStruct.PLL.PLLN = 85;
  RCC_OscInitStruct.PLL.PLLP = RCC_PLLP_DIV8;
  RCC_OscInitStruct.PLL.PLLQ = RCC_PLLQ_DIV2;
  RCC_OscInitStruct.PLL.PLLR = RCC_PLLR_DIV2;
  if (HAL_RCC_OscConfig(&RCC_OscInitStruct) != HAL_OK)
  {
    Error_Handler();
  }

  /** Initializes the CPU, AHB and APB buses clocks
  */
  RCC_ClkInitStruct.ClockType = RCC_CLOCKTYPE_HCLK|RCC_CLOCKTYPE_SYSCLK
                              |RCC_CLOCKTYPE_PCLK1|RCC_CLOCKTYPE_PCLK2;
  RCC_ClkInitStruct.SYSCLKSource = RCC_SYSCLKSOURCE_PLLCLK;
  RCC_ClkInitStruct.AHBCLKDivider = RCC_SYSCLK_DIV1;
  RCC_ClkInitStruct.APB1CLKDivider = RCC_HCLK_DIV1;
  RCC_ClkInitStruct.APB2CLKDivider = RCC_HCLK_DIV1;

  if (HAL_RCC_ClockConfig(&RCC_ClkInitStruct, FLASH_LATENCY_4) != HAL_OK)
  {
    Error_Handler();
  }
}

/**
  * @brief NVIC Configuration.
  * @retval None
  */
static void MX_NVIC_Init(void)
{
  /* TIM1_BRK_TIM15_IRQn interrupt configuration */
  HAL_NVIC_SetPriority(TIM1_BRK_TIM15_IRQn, 4, 0);
  HAL_NVIC_EnableIRQ(TIM1_BRK_TIM15_IRQn);
  /* TIM1_UP_TIM16_IRQn interrupt configuration */
  HAL_NVIC_SetPriority(TIM1_UP_TIM16_IRQn, 0, 0);
  HAL_NVIC_EnableIRQ(TIM1_UP_TIM16_IRQn);
  /* ADC1_2_IRQn interrupt configuration */
  HAL_NVIC_SetPriority(ADC1_2_IRQn, 2, 0);
  printf("Channelrobotics--->\n");
  printf("Channelrobotics--->\n");
  printf("Channelrobotics--->\n");
  printf("Channelrobotics--->\n");
  printf("Channelrobotics--->\n");
  HAL_NVIC_EnableIRQ(ADC1_2_IRQn);
  printf("Channelrobotics--->\n");
  printf("Channelrobotics--->\n");
  printf("Channelrobotics--->\n");
  printf("Channelrobotics--->\n");
  printf("Channelrobotics--->\n");
  /* TIM4_IRQn interrupt configuration */
  HAL_NVIC_SetPriority(TIM4_IRQn, 3, 0);
  HAL_NVIC_EnableIRQ(TIM4_IRQn);
  /* EXTI9_5_IRQn interrupt configuration */
  HAL_NVIC_SetPriority(EXTI9_5_IRQn, 3, 0);
  HAL_NVIC_EnableIRQ(EXTI9_5_IRQn);
}

static void MX_ADC1_Init(void)
{

  ADC_MultiModeTypeDef multimode = {0};
  ADC_InjectionConfTypeDef sConfigInjected = {0};

  /** Common config
  */
  hadc1.Instance = ADC1;
  hadc1.Init.ClockPrescaler = ADC_CLOCK_ASYNC_DIV1;
  hadc1.Init.Resolution = ADC_RESOLUTION_12B;
  hadc1.Init.DataAlign = ADC_DATAALIGN_LEFT;
  hadc1.Init.GainCompensation = 0;
  hadc1.Init.ScanConvMode = ADC_SCAN_ENABLE;
  hadc1.Init.EOCSelection = ADC_EOC_SINGLE_CONV;
  hadc1.Init.LowPowerAutoWait = DISABLE;
  hadc1.Init.ContinuousConvMode = DISABLE;
  hadc1.Init.NbrOfConversion = 1;
  hadc1.Init.DiscontinuousConvMode = DISABLE;
  hadc1.Init.DMAContinuousRequests = DISABLE;
  hadc1.Init.Overrun = ADC_OVR_DATA_PRESERVED;
  hadc1.Init.OversamplingMode = DISABLE;
  if (HAL_ADC_Init(&hadc1) != HAL_OK)
  {
    Error_Handler();
  }

  /** Configure the ADC multi-mode
  */
  multimode.Mode = ADC_MODE_INDEPENDENT;
  if (HAL_ADCEx_MultiModeConfigChannel(&hadc1, &multimode) != HAL_OK)
  {
    Error_Handler();
  }

  /** Configure Injected Channel
  */
  sConfigInjected.InjectedChannel = ADC_CHANNEL_2;
  sConfigInjected.InjectedRank = ADC_INJECTED_RANK_1;
  sConfigInjected.InjectedSamplingTime = ADC_SAMPLETIME_6CYCLES_5;
  sConfigInjected.InjectedSingleDiff = ADC_SINGLE_ENDED;
  sConfigInjected.InjectedOffsetNumber = ADC_OFFSET_NONE;
  sConfigInjected.InjectedOffset = 0;
  sConfigInjected.InjectedNbrOfConversion = 3;
  sConfigInjected.InjectedDiscontinuousConvMode = DISABLE;
  sConfigInjected.AutoInjectedConv = DISABLE;
  sConfigInjected.QueueInjectedContext = DISABLE;
  sConfigInjected.ExternalTrigInjecConv = ADC_EXTERNALTRIGINJEC_T1_TRGO;
  sConfigInjected.ExternalTrigInjecConvEdge = ADC_EXTERNALTRIGINJECCONV_EDGE_RISING;
  sConfigInjected.InjecOversamplingMode = DISABLE;
  if (HAL_ADCEx_InjectedConfigChannel(&hadc1, &sConfigInjected) != HAL_OK)
  {
    Error_Handler();
  }

  /** Configure Injected Channel
  */
  sConfigInjected.InjectedChannel = ADC_CHANNEL_3;
  sConfigInjected.InjectedRank = ADC_INJECTED_RANK_2;
  if (HAL_ADCEx_InjectedConfigChannel(&hadc1, &sConfigInjected) != HAL_OK)
  {
    Error_Handler();
  }

  /** Configure Injected Channel
  */
  sConfigInjected.InjectedChannel = ADC_CHANNEL_4;
  sConfigInjected.InjectedRank = ADC_INJECTED_RANK_3;
  if (HAL_ADCEx_InjectedConfigChannel(&hadc1, &sConfigInjected) != HAL_OK)
  {
    Error_Handler();
  }

}

static void MX_CORDIC_Init(void)
{

  hcordic.Instance = CORDIC;
  if (HAL_CORDIC_Init(&hcordic) != HAL_OK)
  {
    Error_Handler();
  }

}

static void MX_SPI2_Init(void)
{

  /* SPI2 parameter configuration*/
  hspi2.Instance = SPI2;
  hspi2.Init.Mode = SPI_MODE_MASTER;
  hspi2.Init.Direction = SPI_DIRECTION_2LINES;
  hspi2.Init.DataSize = SPI_DATASIZE_16BIT;
  hspi2.Init.CLKPolarity = SPI_POLARITY_LOW;
  hspi2.Init.CLKPhase = SPI_PHASE_1EDGE;
  hspi2.Init.NSS = SPI_NSS_SOFT;
  hspi2.Init.BaudRatePrescaler = SPI_BAUDRATEPRESCALER_32;
  hspi2.Init.FirstBit = SPI_FIRSTBIT_MSB;
  hspi2.Init.TIMode = SPI_TIMODE_DISABLE;
  hspi2.Init.CRCCalculation = SPI_CRCCALCULATION_DISABLE;
  hspi2.Init.CRCPolynomial = 7;
  hspi2.Init.CRCLength = SPI_CRC_LENGTH_DATASIZE;
  hspi2.Init.NSSPMode = SPI_NSS_PULSE_ENABLE;
  if (HAL_SPI_Init(&hspi2) != HAL_OK)
  {
    Error_Handler();
  }

}

static void MX_TIM1_Init(void)
{

  TIM_MasterConfigTypeDef sMasterConfig = {0};
  TIM_OC_InitTypeDef sConfigOC = {0};
  TIM_BreakDeadTimeConfigTypeDef sBreakDeadTimeConfig = {0};

  htim1.Instance = TIM1;
  htim1.Init.Prescaler = ((TIM_CLOCK_DIVIDER) - 1);
  htim1.Init.CounterMode = TIM_COUNTERMODE_CENTERALIGNED1;
  htim1.Init.Period = ((PWM_PERIOD_CYCLES) / 2);
  htim1.Init.ClockDivision = TIM_CLOCKDIVISION_DIV2;
  htim1.Init.RepetitionCounter = (REP_COUNTER);
  htim1.Init.AutoReloadPreload = TIM_AUTORELOAD_PRELOAD_DISABLE;
  if (HAL_TIM_PWM_Init(&htim1) != HAL_OK)
  {
    Error_Handler();
  }
  sMasterConfig.MasterOutputTrigger = TIM_TRGO_OC4REF;
  sMasterConfig.MasterOutputTrigger2 = TIM_TRGO2_RESET;
  sMasterConfig.MasterSlaveMode = TIM_MASTERSLAVEMODE_DISABLE;
  if (HAL_TIMEx_MasterConfigSynchronization(&htim1, &sMasterConfig) != HAL_OK)
  {
    Error_Handler();
  }
  sConfigOC.OCMode = TIM_OCMODE_PWM1;
  sConfigOC.Pulse = ((PWM_PERIOD_CYCLES) / 4);
  sConfigOC.OCPolarity = TIM_OCPOLARITY_HIGH;
  sConfigOC.OCNPolarity = TIM_OCNPOLARITY_HIGH;
  sConfigOC.OCFastMode = TIM_OCFAST_DISABLE;
  sConfigOC.OCIdleState = TIM_OCIDLESTATE_RESET;
  sConfigOC.OCNIdleState = TIM_OCNIDLESTATE_RESET;
  if (HAL_TIM_PWM_ConfigChannel(&htim1, &sConfigOC, TIM_CHANNEL_1) != HAL_OK)
  {
    Error_Handler();
  }
  if (HAL_TIM_PWM_ConfigChannel(&htim1, &sConfigOC, TIM_CHANNEL_2) != HAL_OK)
  {
    Error_Handler();
  }
  if (HAL_TIM_PWM_ConfigChannel(&htim1, &sConfigOC, TIM_CHANNEL_3) != HAL_OK)
  {
    Error_Handler();
  }
  sConfigOC.OCMode = TIM_OCMODE_PWM2;
  sConfigOC.Pulse = (((PWM_PERIOD_CYCLES) / 2) - (HTMIN));
  if (HAL_TIM_PWM_ConfigChannel(&htim1, &sConfigOC, TIM_CHANNEL_4) != HAL_OK)
  {
    Error_Handler();
  }
  sBreakDeadTimeConfig.OffStateRunMode = TIM_OSSR_ENABLE;
  sBreakDeadTimeConfig.OffStateIDLEMode = TIM_OSSI_ENABLE;
  sBreakDeadTimeConfig.LockLevel = TIM_LOCKLEVEL_OFF;
  sBreakDeadTimeConfig.DeadTime = 0;
  sBreakDeadTimeConfig.BreakState = TIM_BREAK_DISABLE;
  sBreakDeadTimeConfig.BreakPolarity = TIM_BREAKPOLARITY_HIGH;
  sBreakDeadTimeConfig.BreakFilter = 0;
  sBreakDeadTimeConfig.BreakAFMode = TIM_BREAK_AFMODE_INPUT;
  sBreakDeadTimeConfig.Break2State = TIM_BREAK2_DISABLE;
  sBreakDeadTimeConfig.Break2Polarity = TIM_BREAK2POLARITY_HIGH;
  sBreakDeadTimeConfig.Break2Filter = 3;
  sBreakDeadTimeConfig.Break2AFMode = TIM_BREAK_AFMODE_INPUT;
  sBreakDeadTimeConfig.AutomaticOutput = TIM_AUTOMATICOUTPUT_DISABLE;
  if (HAL_TIMEx_ConfigBreakDeadTime(&htim1, &sBreakDeadTimeConfig) != HAL_OK)
  {
    Error_Handler();
  }
  HAL_TIM_MspPostInit(&htim1);

}

static void MX_TIM4_Init(void)
{

  TIM_Encoder_InitTypeDef sConfig = {0};
  TIM_MasterConfigTypeDef sMasterConfig = {0};

  htim4.Instance = TIM4;
  htim4.Init.Prescaler = 0;
  htim4.Init.CounterMode = TIM_COUNTERMODE_UP;
  htim4.Init.Period = M1_PULSE_NBR;
  htim4.Init.ClockDivision = TIM_CLOCKDIVISION_DIV1;
  htim4.Init.AutoReloadPreload = TIM_AUTORELOAD_PRELOAD_DISABLE;
  sConfig.EncoderMode = TIM_ENCODERMODE_TI12;
  sConfig.IC1Polarity = TIM_ICPOLARITY_RISING;
  sConfig.IC1Selection = TIM_ICSELECTION_DIRECTTI;
  sConfig.IC1Prescaler = TIM_ICPSC_DIV1;
  sConfig.IC1Filter = M1_ENC_IC_FILTER;
  sConfig.IC2Polarity = TIM_ICPOLARITY_RISING;
  sConfig.IC2Selection = TIM_ICSELECTION_DIRECTTI;
  sConfig.IC2Prescaler = TIM_ICPSC_DIV1;
  sConfig.IC2Filter = M1_ENC_IC_FILTER;
  if (HAL_TIM_Encoder_Init(&htim4, &sConfig) != HAL_OK)
  {
    Error_Handler();
  }
  sMasterConfig.MasterOutputTrigger = TIM_TRGO_RESET;
  sMasterConfig.MasterSlaveMode = TIM_MASTERSLAVEMODE_DISABLE;
  if (HAL_TIMEx_MasterConfigSynchronization(&htim4, &sMasterConfig) != HAL_OK)
  {
    Error_Handler();
  }

}

static void MX_TIM8_Init(void)
{

  TIM_Encoder_InitTypeDef sConfig = {0};
  TIM_MasterConfigTypeDef sMasterConfig = {0};

  htim8.Instance = TIM8;
  htim8.Init.Prescaler = 0;
  htim8.Init.CounterMode = TIM_COUNTERMODE_UP;
  htim8.Init.Period = 65535;
  htim8.Init.ClockDivision = TIM_CLOCKDIVISION_DIV1;
  htim8.Init.RepetitionCounter = 0;
  htim8.Init.AutoReloadPreload = TIM_AUTORELOAD_PRELOAD_DISABLE;
  sConfig.EncoderMode = TIM_ENCODERMODE_TI1;
  sConfig.IC1Polarity = TIM_ICPOLARITY_RISING;
  sConfig.IC1Selection = TIM_ICSELECTION_DIRECTTI;
  sConfig.IC1Prescaler = TIM_ICPSC_DIV1;
  sConfig.IC1Filter = 0;
  sConfig.IC2Polarity = TIM_ICPOLARITY_RISING;
  sConfig.IC2Selection = TIM_ICSELECTION_DIRECTTI;
  sConfig.IC2Prescaler = TIM_ICPSC_DIV1;
  sConfig.IC2Filter = 0;
  if (HAL_TIM_Encoder_Init(&htim8, &sConfig) != HAL_OK)
  {
    Error_Handler();
  }
  sMasterConfig.MasterOutputTrigger = TIM_TRGO_RESET;
  sMasterConfig.MasterOutputTrigger2 = TIM_TRGO2_RESET;
  sMasterConfig.MasterSlaveMode = TIM_MASTERSLAVEMODE_DISABLE;
  if (HAL_TIMEx_MasterConfigSynchronization(&htim8, &sMasterConfig) != HAL_OK)
  {
    Error_Handler();
  }

}

static void MX_USART1_UART_Init(void)
{

  huart1.Instance = USART1;
  huart1.Init.BaudRate = 2000000;
  huart1.Init.WordLength = UART_WORDLENGTH_8B;
  huart1.Init.StopBits = UART_STOPBITS_1;
  huart1.Init.Parity = UART_PARITY_NONE;
  huart1.Init.Mode = UART_MODE_TX_RX;
  huart1.Init.HwFlowCtl = UART_HWCONTROL_NONE;
  huart1.Init.OverSampling = UART_OVERSAMPLING_16;
  huart1.Init.OneBitSampling = UART_ONE_BIT_SAMPLE_DISABLE;
  huart1.Init.ClockPrescaler = UART_PRESCALER_DIV1;
  huart1.AdvancedInit.AdvFeatureInit = UART_ADVFEATURE_NO_INIT;
  if (HAL_UART_Init(&huart1) != HAL_OK)
  {
    Error_Handler();
  }
  if (HAL_UARTEx_SetTxFifoThreshold(&huart1, UART_TXFIFO_THRESHOLD_1_8) != HAL_OK)
  {
    Error_Handler();
  }
  if (HAL_UARTEx_SetRxFifoThreshold(&huart1, UART_RXFIFO_THRESHOLD_1_8) != HAL_OK)
  {
    Error_Handler();
  }
  if (HAL_UARTEx_DisableFifoMode(&huart1) != HAL_OK)
  {
    Error_Handler();
  }

}

static void MX_USART3_UART_Init(void)
{

  huart3.Instance = USART3;
  huart3.Init.BaudRate = 2000000;
  huart3.Init.WordLength = UART_WORDLENGTH_8B;
  huart3.Init.StopBits = UART_STOPBITS_1;
  huart3.Init.Parity = UART_PARITY_NONE;
  huart3.Init.Mode = UART_MODE_TX_RX;
  huart3.Init.HwFlowCtl = UART_HWCONTROL_NONE;
  huart3.Init.OverSampling = UART_OVERSAMPLING_16;
  huart3.Init.OneBitSampling = UART_ONE_BIT_SAMPLE_DISABLE;
  huart3.Init.ClockPrescaler = UART_PRESCALER_DIV1;
  huart3.AdvancedInit.AdvFeatureInit = UART_ADVFEATURE_NO_INIT;
  if (HAL_UART_Init(&huart3) != HAL_OK)
  {
    Error_Handler();
  }
  if (HAL_UARTEx_SetTxFifoThreshold(&huart3, UART_TXFIFO_THRESHOLD_1_8) != HAL_OK)
  {
    Error_Handler();
  }
  if (HAL_UARTEx_SetRxFifoThreshold(&huart3, UART_RXFIFO_THRESHOLD_1_8) != HAL_OK)
  {
    Error_Handler();
  }
  if (HAL_UARTEx_EnableFifoMode(&huart3) != HAL_OK)
  {
    Error_Handler();
  }

}

static void MX_DMA_Init(void)
{

  /* DMA controller clock enable */
  __HAL_RCC_DMAMUX1_CLK_ENABLE();
  __HAL_RCC_DMA1_CLK_ENABLE();

  /* DMA interrupt init */
  /* DMA1_Channel3_IRQn interrupt configuration */
  HAL_NVIC_SetPriority(DMA1_Channel3_IRQn, 5, 0);
  HAL_NVIC_EnableIRQ(DMA1_Channel3_IRQn);

}

static void MX_GPIO_Init(void)
{
  GPIO_InitTypeDef GPIO_InitStruct = {0};

  /* GPIO Ports Clock Enable */
  __HAL_RCC_GPIOG_CLK_ENABLE();
  __HAL_RCC_GPIOA_CLK_ENABLE();
  __HAL_RCC_GPIOC_CLK_ENABLE();
  __HAL_RCC_GPIOB_CLK_ENABLE();

  /*Configure GPIO pin Output Level */
  HAL_GPIO_WritePin(M1_SPI_CS_GPIO_Port, M1_SPI_CS_Pin, GPIO_PIN_RESET);

  /*Configure GPIO pin Output Level */
  HAL_GPIO_WritePin(M1_PWM_EN_UVW_GPIO_Port, M1_PWM_EN_UVW_Pin, GPIO_PIN_RESET);

  /*Configure GPIO pin : M1_NRST_Pin */
  GPIO_InitStruct.Pin = M1_NRST_Pin;
  GPIO_InitStruct.Mode = GPIO_MODE_INPUT;
  GPIO_InitStruct.Pull = GPIO_NOPULL;
  HAL_GPIO_Init(M1_NRST_GPIO_Port, &GPIO_InitStruct);

  /*Configure GPIO pin : M1_VCC_Pin */
  GPIO_InitStruct.Pin = M1_VCC_Pin;
  GPIO_InitStruct.Mode = GPIO_MODE_INPUT;
  GPIO_InitStruct.Pull = GPIO_NOPULL;
  HAL_GPIO_Init(M1_VCC_GPIO_Port, &GPIO_InitStruct);

  /*Configure GPIO pin : M1_SPI_CS_Pin */
  GPIO_InitStruct.Pin = M1_SPI_CS_Pin;
  GPIO_InitStruct.Mode = GPIO_MODE_OUTPUT_PP;
  GPIO_InitStruct.Pull = GPIO_NOPULL;
  GPIO_InitStruct.Speed = GPIO_SPEED_FREQ_LOW;
  HAL_GPIO_Init(M1_SPI_CS_GPIO_Port, &GPIO_InitStruct);

  /*Configure GPIO pin : M1_PWM_EN_UVW_Pin */
  GPIO_InitStruct.Pin = M1_PWM_EN_UVW_Pin;
  GPIO_InitStruct.Mode = GPIO_MODE_OUTPUT_PP;
  GPIO_InitStruct.Pull = GPIO_PULLDOWN;
  GPIO_InitStruct.Speed = GPIO_SPEED_FREQ_HIGH;
  HAL_GPIO_Init(M1_PWM_EN_UVW_GPIO_Port, &GPIO_InitStruct);

  /*Configure GPIO pins : M1_EXT_ENCODER_Z_Pin M1_ENCODER_Z_Pin */
  GPIO_InitStruct.Pin = M1_EXT_ENCODER_Z_Pin|M1_ENCODER_Z_Pin;
  GPIO_InitStruct.Mode = GPIO_MODE_IT_RISING;
  GPIO_InitStruct.Pull = GPIO_PULLUP;
  HAL_GPIO_Init(GPIOB, &GPIO_InitStruct);

  /* USER CODE BEGIN MX_GPIO_Init_2 */
  HAL_GPIO_WritePin(M1_PWM_EN_UVW_GPIO_Port,M1_PWM_EN_UVW_Pin,GPIO_PIN_SET);
  /* USER CODE END MX_GPIO_Init_2 */
}

__weak void startMediumFrequencyTask(void const * argument)
{
  for(;;)
  {
    osDelay(1);
  }
}

void cnr_start_motor_control_task(void const * argument)
{
  /* USER CODE BEGIN cnr_start_motor_control_task */
  int8_t motor_fault = 0U;
  cnr_overcurrent_enable(OVERCURRENT_FAULT_A);
  cnr_current_sign_fix_enable();

  if(cnr_commutation_alignemnt()){
    printf("[COMMUTATION] : Failed to align\n");
    motor_fault = HAL_ERROR;
  }else{
    printf("[COMMUTATION] : Alignment completed\n");
    /*TODO*/
  }
  if(!motor_fault){
    if(cnr_home_to_stop())
    {
      motor_fault = HAL_ERROR;
      printf("[HOME] : Homing failed\n");
    }else{
      printf("[HOME] : Homing completed\n");
      /*TODO*/
    }
  }

  #if CNR_POSITION_CONTROL_POC_ENABLE
    cnr_mcsdk_position_control_poc_test();
  #endif

  /* Infinite loop */
  for(;;)
  {

    motion_command_t cmd;

    xQueueReceive(command_queHandle, &cmd, portMAX_DELAY);

    if(!motor_fault){

      if(cnr_execute_command(&cmd)){
          printf("[CONTROLOOP] : Failed to excecute commad\n");
      }else{
        /*TODO*/
      }

    }else{
      printf("[CONTROLOOP] : motor is in fault\n");
    }
  }
  /* USER CODE END cnr_start_motor_control_task */
}

void cnr_start_command_handler_task(void const * argument)
{
  /* USER CODE BEGIN cnr_start_command_handler_task */
  osSemaphoreWait(uart_line_semaHandle, 0);
  cnr_uart3_rx_start();
  /* Infinite loop */
  for(;;)
  {
    if (osOK == osSemaphoreWait(uart_line_semaHandle, osWaitForever)){
      motion_command_t cmd;
      if(cnr_parse_motion_command((const char *)uart3_line_buffer, &cmd)){
              HAL_GPIO_WritePin(MCU_UART3_TX_GPIO_Port, M1_SPI_CS_Pin, GPIO_PIN_RESET);
        if (pdPASS != xQueueSend(command_queHandle, &cmd, 0))
        {
          printf("[HANDLERLOOP] : command dropped\r\n");
        }
      }else{
             HAL_GPIO_WritePin(MCU_UART3_TX_GPIO_Port, M1_SPI_CS_Pin, GPIO_PIN_RESET);
        printf("[HANDLERLOOP] : invalid command: %s\r\n", uart3_line_buffer);
      }
      uart3_line_complete = 0U;
    }
  }
  /* USER CODE END cnr_start_command_handler_task */
}

void HAL_TIM_PeriodElapsedCallback(TIM_HandleTypeDef *htim)
{
  if (htim->Instance == TIM6)
  {
    HAL_IncTick();
  }
}

void Error_Handler(void)
{
  __disable_irq();
  while (1)
  {
  }
}
